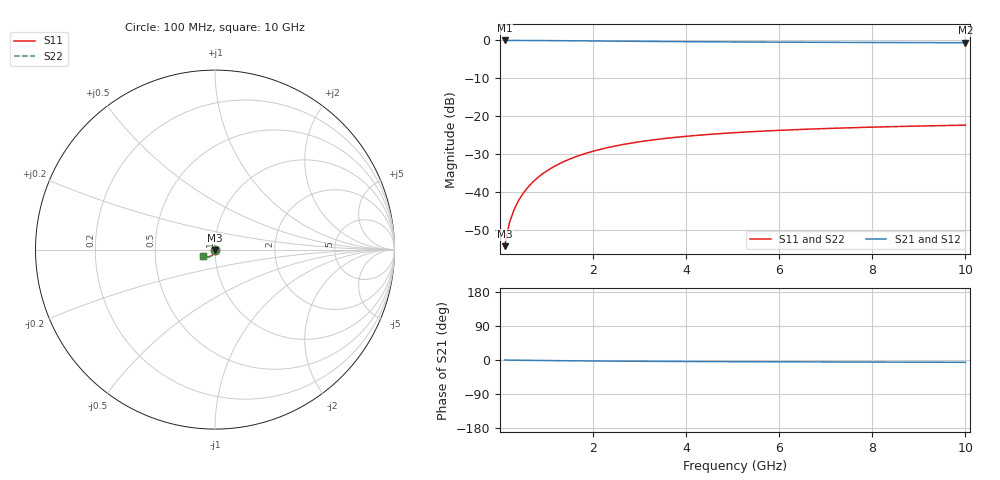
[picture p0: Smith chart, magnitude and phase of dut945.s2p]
! Touchstone file exported from HFSS 2024.1.0
!  File:  C:/UserFiles/LocalFiles/RDL_TSV_Batchsim/temp_TSV1_945_1779948430.aedt
!  Generated:  02:13:08 PM May 28, 2026
!  Design:  TSV1
!  Project:  temp_TSV1_945_1779948430
!  Setup:  Setup1
!  Solution:  Sweep
! Variables:
!  dtsv = 13um
!  hbump = 3um
!  htsv = 92.57um
!  lrdl = 252.1521522um
!  p = 40
!  p1 = 40.62um
!  t = 500um
!  trdl = 3um
!  wrdl = 24.89489489um
# GHz S MA R 50.000000
! Terminal data exported
! Port[1] = TSV22_T1
! Port[2] = TSV22_T2
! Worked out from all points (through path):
!   100 points, 100 MHz to 10 GHz, reference 50 ohm
!   highest |S21| = 0.00 dB at 100 MHz (marker M1); lowest = -0.6 dB at 10 GHz (marker M2)
!   lowest |S11| = -54.2 dB at 100 MHz (marker M3), VSWR 1.00, Z = 50 - j0.195 ohm
!   |S11| at or under -10 dB: start of sweep to end of sweep
!   |S22| runs from -54.2 to -22.3 dB; largest |S21 - S12| = 1e-14
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0.1  0.001951 -88.4  0.9998 -0.2  0.9998 -0.2  0.001951 -88.4
! Gamma 0 0 0 0
! Port Impedance 50 0 50 0
0.2  0.003901 -91.1  0.9997 -0.3  0.9997 -0.3  0.003901 -91.1
0.3  0.005852 -93.0  0.9994 -0.5  0.9994 -0.5  0.005852 -93.0
0.4  0.007796 -94.6  0.9991 -0.6  0.9991 -0.6  0.007796 -94.6
0.5  0.009727 -96.2  0.9986 -0.8  0.9986 -0.8  0.009727 -96.2
0.6  0.01164 -97.7  0.9981 -0.9  0.9981 -0.9  0.01164 -97.7
0.7  0.01353 -99.2  0.9975 -1.0  0.9975 -1.0  0.01353 -99.2
0.8  0.01539 -100.7  0.9968 -1.2  0.9968 -1.2  0.01539 -100.7
0.9  0.01721 -102.1  0.9961 -1.3  0.9961 -1.3  0.01721 -102.1
1.1  0.02077 -104.8  0.9944 -1.6  0.9944 -1.6  0.02077 -104.8
1.4  0.0258 -108.7  0.9915 -1.9  0.9915 -1.9  0.0258 -108.7
1.6  0.02894 -111.2  0.9894 -2.2  0.9894 -2.2  0.02894 -111.2
1.8  0.03191 -113.5  0.9872 -2.4  0.9872 -2.4  0.03191 -113.5
2.1  0.03604 -116.8  0.9838 -2.7  0.9838 -2.7  0.03604 -116.8
2.5  0.04097 -120.7  0.9793 -3.0  0.9793 -3.0  0.04097 -120.7
2.9  0.04528 -124.2  0.9749 -3.3  0.9749 -3.3  0.04528 -124.2
3.4  0.04993 -128.1  0.9697 -3.6  0.9697 -3.6  0.04993 -128.1
4.2  0.05598 -133.2  0.9624 -4.0  0.9624 -4.0  0.05598 -133.2
5.1  0.06128 -137.8  0.9555 -4.4  0.9555 -4.4  0.06128 -137.8
6.7  0.06812 -143.8  0.9461 -5.0  0.9461 -5.0  0.06812 -143.8
8.4  0.07314 -148.4  0.9389 -5.6  0.9389 -5.6  0.07314 -148.4
10  0.07657 -151.6  0.9339 -6.1  0.9339 -6.1  0.07657 -151.6
